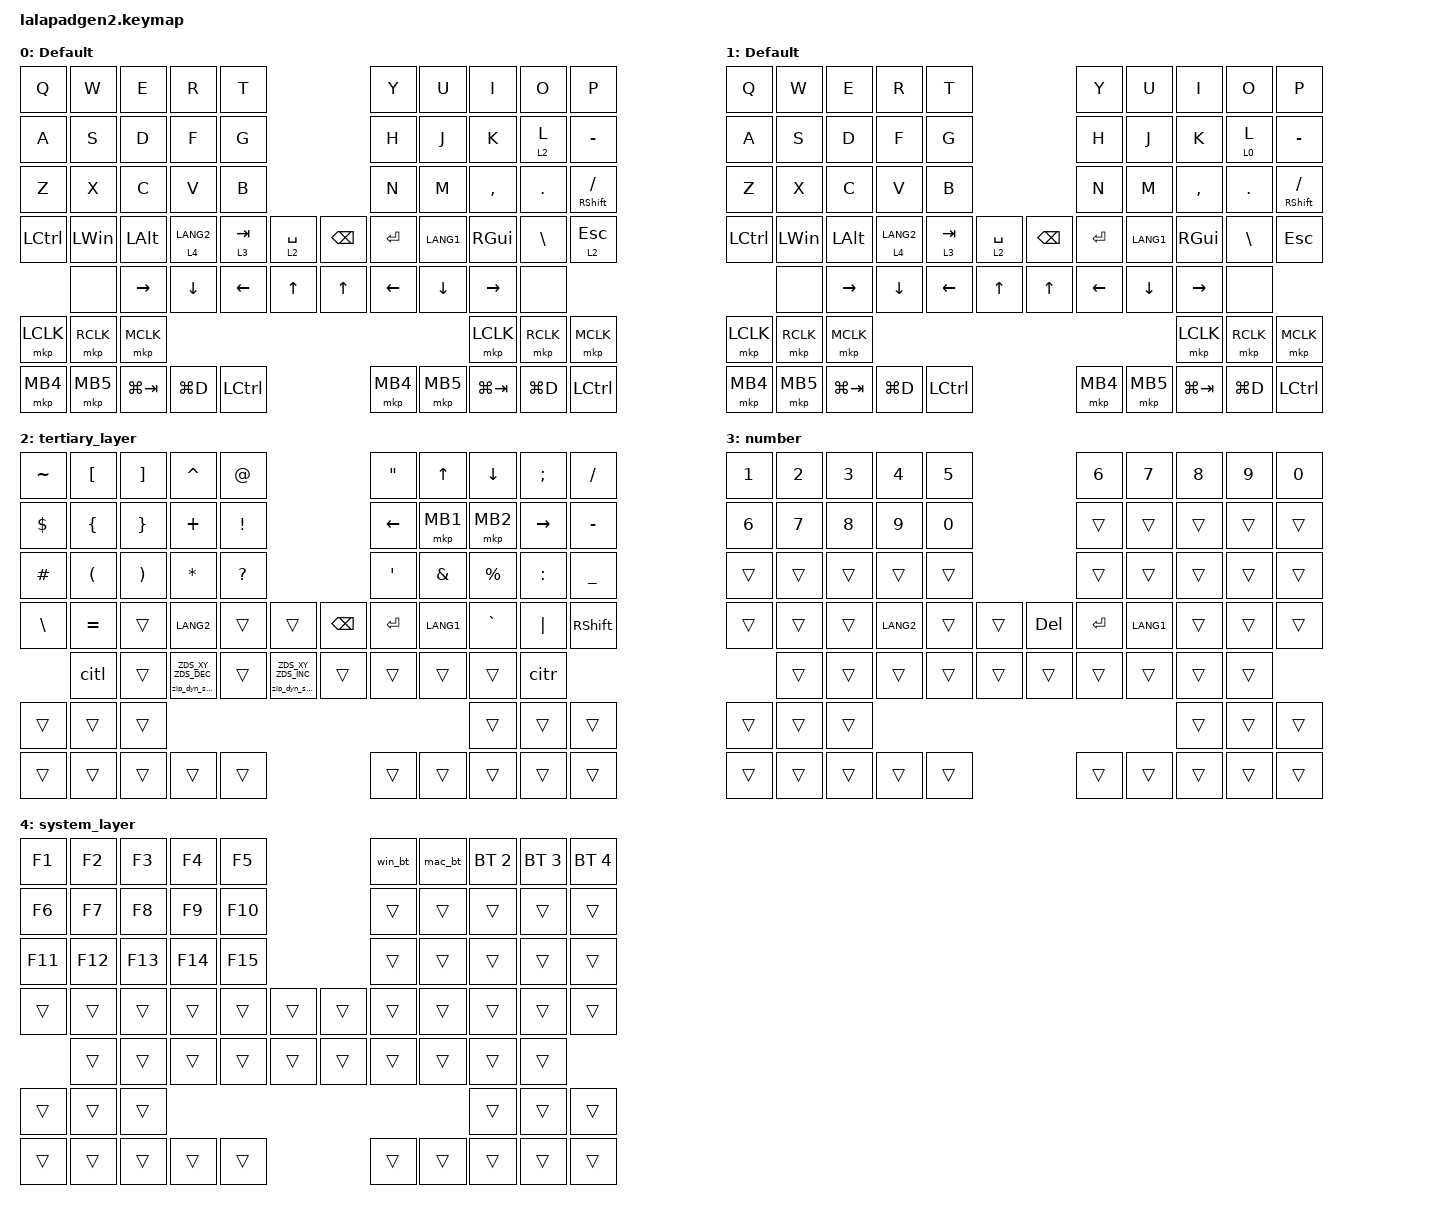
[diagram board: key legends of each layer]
#include <input/processors.dtsi>
#include <dt-bindings/zmk/zip_dynamic_scale.h>
#include <behaviors.dtsi>
#include <dt-bindings/zmk/bt.h>
#include <dt-bindings/zmk/keys.h>
#include <dt-bindings/zmk/pointing.h>

#define DEFAULT_LAYER   0
#define SECONDARY_LAYER 1
#define TERTIARY_LAYER  2
#define SYSTEM_LAYER    3

&mt { quick-tap-ms = <200>; };

&lt { quick-tap-ms = <200>; };

/ {
    behaviors {
        zip_dyn_scale: zip_dyn_scale {
            compatible = "zmk,behavior-zip-dynamic-scale";
            #binding-cells = <2>;
        };

        zip_dyn_scale_set: zip_dyn_scale_set {
            compatible = "zmk,behavior-zip-dynamic-scale-set";
            #binding-cells = <2>;
        };

        citl: citl {
            compatible = "zmk,behavior-iqs9151-cursor-inertia-toggle";
            #binding-cells = <0>;
            target-side = <0>;
        };

        citr: citr {
            compatible = "zmk,behavior-iqs9151-cursor-inertia-toggle";
            #binding-cells = <0>;
            target-side = <1>;
        };

        mt2: mod_tap2 {
            compatible = "zmk,behavior-hold-tap";
            #binding-cells = <2>;
            flavor = "tap-preferred";
            tapping-term-ms = <200>;
            quick-tap-ms = <200>;
            require-prior-idle-ms = <125>;
            bindings = <&kp>, <&kp>;
        };

        tap_dance_layer_1and2: tap_dance_layer_1and2 {
            compatible = "zmk,behavior-tap-dance";
            label = "td_mo12";
            #binding-cells = <0>;
            bindings = <&mo 2>, <&mo 2>;
        };
    };

    combos { compatible = "zmk,combos"; };

    macros {
        win_bt: win_bt {
            compatible = "zmk,behavior-macro";
            #binding-cells = <0>;
            bindings = <&bt BT_SEL 0>, <&macro_wait_time 200>, <&to 0>;

            label = "WIN_BT";
        };

        mac_bt: mac_bt {
            compatible = "zmk,behavior-macro";
            #binding-cells = <0>;
            bindings = <&bt BT_SEL 1>, <&macro_wait_time 200>, <&to 1>;

            label = "MAC_BT";
        };
    };

    keymap {
        compatible = "zmk,keymap";

        win {
            display-name = "Default";
            bindings = <
&kp Q      &kp W      &kp E         &kp R        &kp T                                  &kp Y      &kp U      &kp I          &kp O          &kp P
&kp A      &kp S      &kp D         &kp F        &kp G                                  &kp H      &kp J      &kp K          &lt 2 L        &kp MINUS
&kp Z      &kp X      &kp C         &kp V        &kp B                                  &kp N      &kp M      &kp COMMA      &kp PERIOD     &mt RIGHT_SHIFT SLASH
&kp LCTRL  &kp LWIN   &kp LEFT_ALT  &lt 4 LANG2  &lt 3 TAB  &lt 2 SPACE   &kp BACKSPACE  &kp ENTER  &kp LANG1  &kp RIGHT_GUI  &kp BACKSLASH  &lt 2 ESCAPE
           &none      &kp RIGHT     &kp DOWN     &kp LEFT   &kp UP       &kp UP         &kp LEFT   &kp DOWN   &kp RIGHT      &none
&mkp LCLK  &mkp RCLK  &mkp MCLK                                                                               &mkp LCLK      &mkp RCLK      &mkp MCLK
&mkp MB4   &mkp MB5   &kp LG(TAB)   &kp LG(D)    &kp LCTRL                              &mkp MB4   &mkp MB5   &kp LG(TAB)    &kp LG(D)      &kp LCTRL
            >;
        };

        mac {
            display-name = "Default";
            bindings = <
&kp Q      &kp W      &kp E         &kp R        &kp T                                  &kp Y      &kp U      &kp I          &kp O          &kp P
&kp A      &kp S      &kp D         &kp F        &kp G                                  &kp H      &kp J      &kp K          &lt 0 L        &kp MINUS
&kp Z      &kp X      &kp C         &kp V        &kp B                                  &kp N      &kp M      &kp COMMA      &kp PERIOD     &mt RIGHT_SHIFT SLASH
&kp LCTRL  &kp LWIN   &kp LEFT_ALT  &lt 4 LANG2  &lt 3 TAB  &lt 2 SPACE   &kp BACKSPACE  &kp ENTER  &kp LANG1  &kp RIGHT_GUI  &kp BACKSLASH  &kp ESCAPE
           &none      &kp RIGHT     &kp DOWN     &kp LEFT   &kp UP       &kp UP         &kp LEFT   &kp DOWN   &kp RIGHT      &none
&mkp LCLK  &mkp RCLK  &mkp MCLK                                                                               &mkp LCLK      &mkp RCLK      &mkp MCLK
&mkp MB4   &mkp MB5   &kp LG(TAB)   &kp LG(D)    &kp LCTRL                              &mkp MB4   &mkp MB5   &kp LG(TAB)    &kp LG(D)      &kp LCTRL
            >;
        };

        TERTIARY_LAYER {
            display-name = "tertiary_layer";
            bindings = <
&kp TILDE      &kp LEFT_BRACKET      &kp RIGHT_BRACKET      &kp CARET                      &kp AT                                                      &kp DOUBLE_QUOTES  &kp UP         &kp DOWN     &kp SEMI   &kp SLASH
&kp DOLLAR     &kp LEFT_BRACE        &kp RIGHT_BRACE        &kp PLUS                       &kp EXCL                                                    &kp LEFT           &mkp MB1       &mkp MB2     &kp RIGHT  &kp MINUS
&kp HASH       &kp LEFT_PARENTHESIS  &kp RIGHT_PARENTHESIS  &kp ASTRK                      &kp QUESTION                                                &kp SINGLE_QUOTE   &kp AMPERSAND  &kp PERCENT  &kp COLON  &kp UNDER
&kp BACKSLASH  &kp EQUAL             &trans                 &kp LANG2                      &trans        &trans                         &kp BACKSPACE  &kp ENTER          &kp LANG1      &kp GRAVE    &kp PIPE   &kp RIGHT_SHIFT
               &citl                 &trans                 &zip_dyn_scale ZDS_XY ZDS_DEC  &trans        &zip_dyn_scale ZDS_XY ZDS_INC  &trans         &trans             &trans         &trans       &citr
&trans         &trans                &trans                                                                                                                                              &trans       &trans     &trans
&trans         &trans                &trans                 &trans                         &trans                                                      &trans             &trans         &trans       &trans     &trans
            >;
        };

        number {
            bindings = <
&kp NUMBER_1  &kp NUMBER_2  &kp NUMBER_3  &kp NUMBER_4  &kp NUMBER_5                         &kp NUMBER_6  &kp NUMBER_7  &kp NUMBER_8  &kp NUMBER_9  &kp NUMBER_0
&kp NUMBER_6  &kp NUMBER_7  &kp NUMBER_8  &kp NUMBER_9  &kp NUMBER_0                         &trans        &trans        &trans        &trans        &trans
&trans        &trans        &trans        &trans        &trans                               &trans        &trans        &trans        &trans        &trans
&trans        &trans        &trans        &kp LANG2     &trans        &trans  &kp DELETE  &kp ENTER     &kp LANG1     &trans        &trans        &trans
              &trans        &trans        &trans        &trans        &trans  &trans         &trans        &trans        &trans        &trans
&trans        &trans        &trans                                                                                       &trans        &trans        &trans
&trans        &trans        &trans        &trans        &trans                               &trans        &trans        &trans        &trans        &trans
            >;
        };

        SYSTEM_LAYER {
            display-name = "system_layer";
            bindings = <
&kp F1   &kp F2   &kp F3   &kp F4   &kp F5                   &win_bt  &mac_bt  &bt BT_SEL 2  &bt BT_SEL 3  &bt BT_SEL 4
&kp F6   &kp F7   &kp F8   &kp F9   &kp F10                  &trans   &trans   &trans        &trans        &trans
&kp F11  &kp F12  &kp F13  &kp F14  &kp F15                  &trans   &trans   &trans        &trans        &trans
&trans   &trans   &trans   &trans   &trans   &trans  &trans  &trans   &trans   &trans        &trans        &trans
         &trans   &trans   &trans   &trans   &trans  &trans  &trans   &trans   &trans        &trans
&trans   &trans   &trans                                                       &trans        &trans        &trans
&trans   &trans   &trans   &trans   &trans                   &trans   &trans   &trans        &trans        &trans
            >;
        };
    };

    conditional_layers { compatible = "zmk,conditional-layers"; };
};
